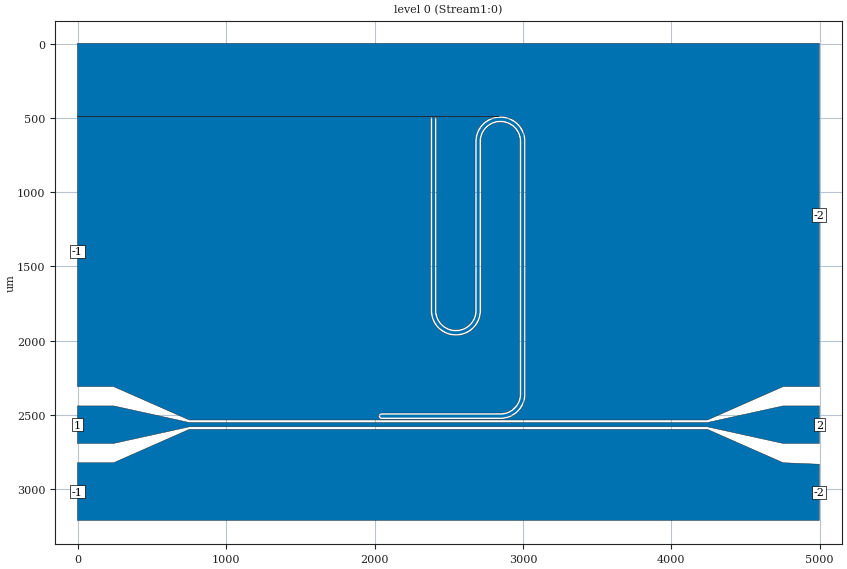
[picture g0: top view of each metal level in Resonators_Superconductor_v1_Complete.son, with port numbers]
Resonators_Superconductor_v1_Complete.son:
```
FTYP SONPROJ 12 ! Sonnet Project File
VER 14.52
HEADER
LIC Sonn.1.12345
DAT 05/16/2020 16:20:51
BUILT_BY_CREATED gds 14.52 05/14/2020 05:50:22
BUILT_BY_SAVED xgeom 14.52
MDATE 05/16/2020 15:54:19
HDATE 05/16/2020 14:24:46
END HEADER
DIM
FREQ GHZ
IND NH
LNG UM
ANG DEG
CON /OH
CAP PF
RES OH
END DIM
FREQ
SIMPLE 4.0 4.7
ABS 4.69 4.7 
ABS_FMIN NET= S21 4.8019 4.8021 
END FREQ
CONTROL
STD
OPTIONS  -d 
SPEED 0
CACHE_ABS 1
TARG_ABS 300
Q_ACC N
END CONTROL
GEO
TMET "Free Space" 0 FREESPACE 376.7303136 0 0 0
BMET "Free Space" 0 FREESPACE 376.7303136 0 0 0
MET "NbN" 4 SUP 0 3.924e-26 0 6
BOX 1 5000 3220 1000 644 20 0
      1000 1 1 0 0 0 0 "Air"
      500 11.9 1 1e-07 0 4.4e-08 0 "Silicon (intrinsic)"
TECHLAY METAL Stream1:0 <UNSPECIFIED> 1 0 
0 0 -1 N 0 1 1 100 100 0 0 0 Y
END
END
LORGN 0 3220 U 
POR1 STD
POLY 11 1
0
1 50 0 0 0 -1.836259506 2567.051998 
POR1 STD
POLY 11 1
6
2 50 0 0 0 4997.16374 2567.051998 
POR1 STD
POLY 17 1
5
-2 50 0 0 0 4997.16374 3023.051998 
POR1 STD
POLY 17 1
7
-1 50 0 0 0 -1.836259506 3018.051998 
POR1 STD
POLY 26 1
2
-1 50 0 0 0 -1.836259506 1399.551998 
POR1 STD
POLY 26 1
187
-2 50 0 0 0 4997.16374 1154.051998 
NUM 4
0 13 0 N 11 1 1 100 100 0 0 0 Y
TLAYNAM Stream1:0 INH
-1.836259506 2693.551998
-1.836259506 2440.551998
242.1637405 2440.551998
752.1637405 2552.551998
4243.16374 2552.551998
4753.16374 2440.551998
4997.16374 2440.551998
4997.16374 2693.551998
4753.16374 2693.551998
4243.16374 2581.551998
752.1637405 2581.551998
242.1637405 2693.551998
-1.836259506 2693.551998
END
0 9 -1 N 17 1 1 100 100 0 0 0 Y
TLAYNAM Stream1:0 INH
-1.836259506 2823.551998
242.1637405 2823.551998
752.1637405 2598.551998
4243.16374 2598.551998
4753.16374 2823.551998
4997.16374 2833.551998
4997.16374 3212.551998
-1.836259506 3212.551998
-1.836259506 2823.551998
END
0 192 -1 N 26 1 1 100 100 0 0 0 Y
TLAYNAM Stream1:0 INH
752.1637405 2535.551998
242.1637405 2310.551998
-1.836259506 2310.551998
-1.836259506 488.5519981
2839.16374 488.5519981
2822.16374 490.5519981
2806.16374 493.5519981
2790.16374 498.5519981
2774.16374 504.5519981
2759.16374 512.5519981
2746.16374 521.5519981
2733.16374 532.5519981
2721.16374 544.5519981
2710.16374 557.5519981
2701.16374 570.5519981
2693.16374 585.5519981
2687.16374 601.5519981
2682.16374 617.5519981
2679.16374 633.5519981
2677.16374 650.5519981
2677.16374 1803.551998
2676.16374 1816.551998
2673.16374 1828.551998
2670.16374 1841.551998
2665.16374 1852.551998
2659.16374 1863.551998
2652.16374 1874.551998
2644.16374 1884.551998
2635.16374 1893.551998
2625.16374 1901.551998
2614.16374 1908.551998
2603.16374 1914.551998
2592.16374 1919.551998
2579.16374 1922.551998
2567.16374 1925.551998
2554.16374 1926.551998
2542.16374 1926.551998
2529.16374 1925.551998
2517.16374 1922.551998
2504.16374 1919.551998
2493.16374 1914.551998
2482.16374 1908.551998
2471.16374 1901.551998
2461.16374 1893.551998
2452.16374 1884.551998
2444.16374 1874.551998
2437.16374 1863.551998
2431.16374 1852.551998
2426.16374 1841.551998
2423.16374 1828.551998
2420.16374 1816.551998
2419.16374 1803.551998
2419.16374 495.5519981
2418.16374 494.5519981
2408.16374 494.5519981
2408.16374 498.3177919
2388.16374 498.3177919
2388.16374 494.5519981
2377.16374 494.5519981
2377.16374 1806.551998
2379.16374 1823.551998
2382.16374 1839.551998
2387.16374 1855.551998
2393.16374 1871.551998
2401.16374 1886.551998
2410.16374 1899.551998
2421.16374 1912.551998
2433.16374 1924.551998
2446.16374 1935.551998
2459.16374 1944.551998
2474.16374 1952.551998
2490.16374 1958.551998
2506.16374 1963.551998
2522.16374 1966.551998
2539.16374 1968.551998
2557.16374 1968.551998
2574.16374 1966.551998
2590.16374 1963.551998
2606.16374 1958.551998
2622.16374 1952.551998
2637.16374 1944.551998
2650.16374 1935.551998
2663.16374 1924.551998
2675.16374 1912.551998
2686.16374 1899.551998
2695.16374 1886.551998
2703.16374 1871.551998
2709.16374 1855.551998
2714.16374 1839.551998
2717.16374 1823.551998
2719.16374 1806.551998
2719.16374 653.5519981
2720.16374 640.5519981
2723.16374 628.5519981
2726.16374 615.5519981
2731.16374 604.5519981
2737.16374 593.5519981
2744.16374 582.5519981
2752.16374 572.5519981
2761.16374 563.5519981
2771.16374 555.5519981
2782.16374 548.5519981
2793.16374 542.5519981
2804.16374 537.5519981
2817.16374 534.5519981
2829.16374 531.5519981
2842.16374 530.5519981
2854.16374 530.5519981
2867.16374 531.5519981
2879.16374 534.5519981
2892.16374 537.5519981
2903.16374 542.5519981
2914.16374 548.5519981
2925.16374 555.5519981
2935.16374 563.5519981
2944.16374 572.5519981
2952.16374 582.5519981
2959.16374 593.5519981
2965.16374 604.5519981
2970.16374 615.5519981
2973.16374 628.5519981
2976.16374 640.5519981
2977.16374 653.5519981
2977.16374 2364.551998
2976.16374 2377.551998
2973.16374 2390.551998
2970.16374 2402.551998
2965.16374 2414.551998
2959.16374 2425.551998
2952.16374 2436.551998
2925.16374 2463.551998
2914.16374 2470.551998
2903.16374 2476.551998
2891.16374 2481.551998
2879.16374 2484.551998
2866.16374 2487.551998
2853.16374 2488.551998
2045.16374 2488.551998
2043.16374 2489.551998
2041.16374 2489.551998
2035.16374 2492.551998
2031.16374 2496.551998
2028.16374 2502.551998
2028.16374 2504.551998
2027.16374 2506.551998
2027.16374 2512.551998
2028.16374 2514.551998
2028.16374 2516.551998
2031.16374 2522.551998
2035.16374 2526.551998
2041.16374 2529.551998
2043.16374 2529.551998
2045.16374 2530.551998
2857.16374 2530.551998
2874.16374 2528.551998
2890.16374 2525.551998
2906.16374 2520.551998
2922.16374 2514.551998
2937.16374 2506.551998
2950.16374 2497.551998
2963.16374 2486.551998
2975.16374 2474.551998
2986.16374 2461.551998
2995.16374 2448.551998
3003.16374 2433.551998
3009.16374 2417.551998
3014.16374 2401.551998
3017.16374 2385.551998
3019.16374 2368.551998
3019.16374 650.5519981
3017.16374 633.5519981
3014.16374 617.5519981
3009.16374 601.5519981
3003.16374 585.5519981
2995.16374 570.5519981
2986.16374 557.5519981
2975.16374 544.5519981
2963.16374 532.5519981
2950.16374 521.5519981
2937.16374 512.5519981
2922.16374 504.5519981
2906.16374 498.5519981
2890.16374 493.5519981
2874.16374 490.5519981
2857.16374 488.5519981
-1.836259506 488.5519981
-1.836259506 -2.448001909
4997.16374 -2.448001909
4997.16374 2310.551998
4753.16374 2310.551998
4243.16374 2535.551998
752.1637405 2535.551998
END
0 175 -1 V 30 1 1 100 100 0 0 0 Y
TLAYNAM Stream1:0 NOH
2408.16374 1804.551998
2409.16374 1818.551998
2412.16374 1831.551998
2416.16374 1844.551998
2421.16374 1857.551998
2428.16374 1869.551998
2435.16374 1880.551998
2444.16374 1891.551998
2454.16374 1901.551998
2465.16374 1910.551998
2476.16374 1917.551998
2488.16374 1924.551998
2501.16374 1929.551998
2514.16374 1933.551998
2527.16374 1936.551998
2541.16374 1937.551998
2555.16374 1937.551998
2569.16374 1936.551998
2582.16374 1933.551998
2595.16374 1929.551998
2608.16374 1924.551998
2620.16374 1917.551998
2631.16374 1910.551998
2642.16374 1901.551998
2652.16374 1891.551998
2661.16374 1880.551998
2668.16374 1869.551998
2675.16374 1857.551998
2680.16374 1844.551998
2684.16374 1831.551998
2687.16374 1818.551998
2688.16374 1804.551998
2688.16374 651.5519981
2690.16374 635.5519981
2693.16374 620.5519981
2697.16374 605.5519981
2703.16374 591.5519981
2711.16374 577.5519981
2719.16374 564.5519981
2729.16374 551.5519981
2740.16374 540.5519981
2753.16374 530.5519981
2766.16374 522.5519981
2780.16374 514.5519981
2794.16374 508.5519981
2809.16374 504.5519981
2824.16374 501.5519981
2840.16374 499.5519981
2856.16374 499.5519981
2872.16374 501.5519981
2887.16374 504.5519981
2902.16374 508.5519981
2916.16374 514.5519981
2930.16374 522.5519981
2943.16374 530.5519981
2956.16374 540.5519981
2967.16374 551.5519981
2977.16374 564.5519981
2985.16374 577.5519981
2993.16374 591.5519981
2999.16374 605.5519981
3003.16374 620.5519981
3006.16374 635.5519981
3008.16374 651.5519981
3008.16374 2367.551998
3006.16374 2383.551998
3003.16374 2398.551998
2999.16374 2413.551998
2993.16374 2427.551998
2985.16374 2441.551998
2977.16374 2454.551998
2967.16374 2467.551998
2956.16374 2478.551998
2943.16374 2488.551998
2930.16374 2496.551998
2916.16374 2504.551998
2902.16374 2510.551998
2887.16374 2514.551998
2872.16374 2517.551998
2856.16374 2519.551998
2046.16374 2519.551998
2045.16374 2518.551998
2043.16374 2518.551998
2039.16374 2514.551998
2039.16374 2512.551998
2038.16374 2511.551998
2038.16374 2507.551998
2039.16374 2506.551998
2039.16374 2504.551998
2043.16374 2500.551998
2045.16374 2500.551998
2046.16374 2499.551998
2855.16374 2499.551998
2869.16374 2498.551998
2882.16374 2495.551998
2895.16374 2491.551998
2908.16374 2486.551998
2920.16374 2479.551998
2931.16374 2472.551998
2942.16374 2463.551998
2952.16374 2453.551998
2961.16374 2442.551998
2968.16374 2431.551998
2975.16374 2419.551998
2980.16374 2406.551998
2984.16374 2393.551998
2987.16374 2380.551998
2988.16374 2366.551998
2988.16374 652.5519981
2987.16374 638.5519981
2984.16374 625.5519981
2980.16374 612.5519981
2975.16374 599.5519981
2968.16374 587.5519981
2961.16374 576.5519981
2952.16374 565.5519981
2942.16374 555.5519981
2931.16374 546.5519981
2920.16374 539.5519981
2908.16374 532.5519981
2895.16374 527.5519981
2882.16374 523.5519981
2869.16374 520.5519981
2855.16374 519.5519981
2841.16374 519.5519981
2827.16374 520.5519981
2814.16374 523.5519981
2801.16374 527.5519981
2788.16374 532.5519981
2776.16374 539.5519981
2765.16374 546.5519981
2754.16374 555.5519981
2744.16374 565.5519981
2735.16374 576.5519981
2728.16374 587.5519981
2721.16374 599.5519981
2716.16374 612.5519981
2712.16374 625.5519981
2709.16374 638.5519981
2708.16374 652.5519981
2708.16374 1805.551998
2706.16374 1821.551998
2703.16374 1836.551998
2699.16374 1851.551998
2693.16374 1865.551998
2685.16374 1879.551998
2677.16374 1892.551998
2667.16374 1905.551998
2656.16374 1916.551998
2643.16374 1926.551998
2630.16374 1934.551998
2616.16374 1942.551998
2602.16374 1948.551998
2587.16374 1952.551998
2572.16374 1955.551998
2556.16374 1957.551998
2540.16374 1957.551998
2524.16374 1955.551998
2509.16374 1952.551998
2494.16374 1948.551998
2480.16374 1942.551998
2466.16374 1934.551998
2453.16374 1926.551998
2440.16374 1916.551998
2429.16374 1905.551998
2419.16374 1892.551998
2411.16374 1879.551998
2403.16374 1865.551998
2397.16374 1851.551998
2393.16374 1836.551998
2390.16374 1821.551998
2388.16374 1805.551998
2388.16374 498.3177919
2408.16374 498.3177919
2408.16374 1804.551998
END
END GEO
OPT
MAX 100
VARS
END
END OPT
VARSWP
END VARSWP
QSG
IMPORT YES
EXTRA_METAL NO
UNITS YES
ALIGN NO
REF NO
VIEW_RES NO
METALS NO
USED NO
END QSG
```
